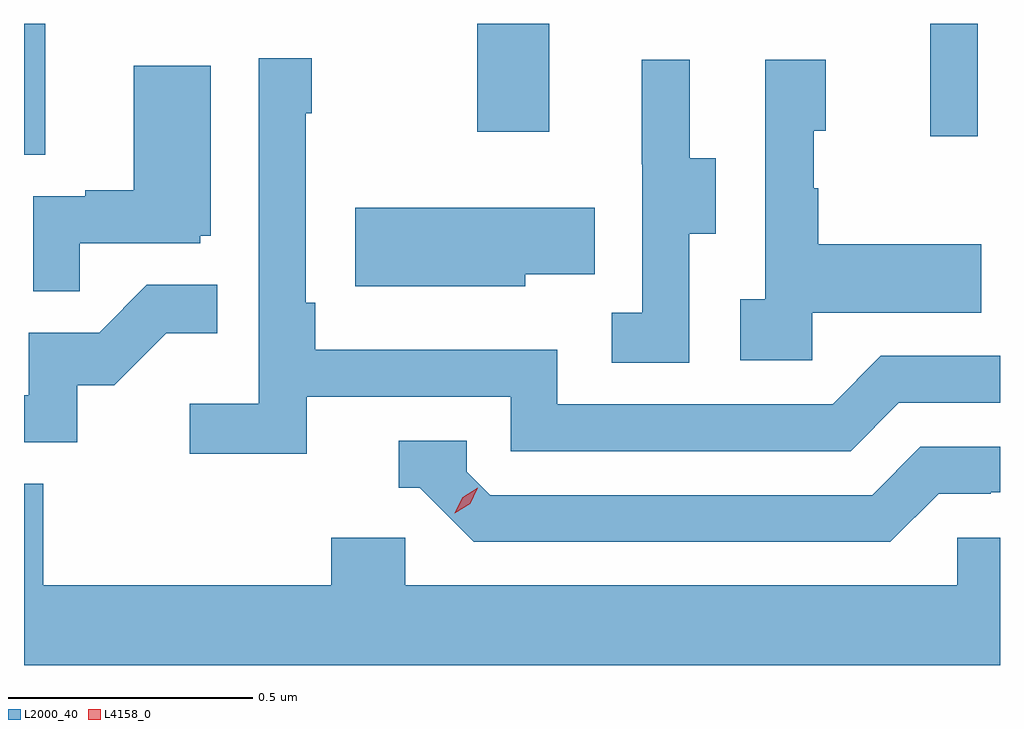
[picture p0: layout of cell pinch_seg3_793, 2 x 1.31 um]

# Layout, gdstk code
import gdstk
lib = gdstk.Library(unit=1e-6, precision=1e-09)
def R(c, l, rs):  # rectangles x0, y0, x1, y1
    for r in rs: c.add(gdstk.rectangle(r[:2], r[2:], *l))
def P(c, l, *ps):  # polygons
    for p in ps: c.add(gdstk.Polygon(p, *l))
L2000_40 = (2000, 40)
L4158_0 = (4158, 0)

pinch_seg3_793 = lib.new_cell('pinch_seg3_793')
R(pinch_seg3_793, L2000_40, [(825.125,720.61,825.169,720.879), (826.982,720.648,827.079,720.879), (826.054,720.657,826.201,720.879)])
P(pinch_seg3_793, L2000_40, [(825.704,720.114),(826.122,720.114),(826.122,720.003),(826.819,720.003),(826.918,720.102),(827.125,720.102),(827.125,720.198),(826.881,720.198),(826.782,720.099),(826.218,720.099),(826.218,720.211),(825.722,720.211),(825.722,720.307),(825.702,720.307),(825.702,720.695),(825.715,720.695),(825.715,720.808),(825.606,720.808),(825.606,720.1),(825.465,720.1),(825.465,719.998),(825.704,719.998)],
  [(826.74,720.287),(827.087,720.287),(827.087,720.427),(826.753,720.427),(826.753,720.542),(826.743,720.542),(826.743,720.66),(826.768,720.66),(826.768,720.805),(826.644,720.805),(826.644,720.314),(826.593,720.314),(826.593,720.189),(826.74,720.189)],
  [(826.488,720.448),(826.543,720.448),(826.543,720.603),(826.489,720.603),(826.489,720.805),(826.391,720.805),(826.391,720.591),(826.392,720.591),(826.392,720.287),(826.329,720.287),(826.329,720.184),(826.488,720.184)],
  [(825.239,720.429),(825.486,720.429),(825.486,720.444),(825.508,720.444),(825.508,720.793),(825.35,720.793),(825.35,720.538),(825.251,720.538),(825.251,720.525),(825.144,720.525),(825.144,720.331),(825.239,720.331)],
  [(826.152,720.365),(826.295,720.365),(826.295,720.502),(825.804,720.502),(825.804,720.341),(826.152,720.341)],
  [(825.234,720.138),(825.31,720.138),(825.417,720.245),(825.521,720.245),(825.521,720.344),(825.377,720.344),(825.279,720.246),(825.135,720.246),(825.135,720.117),(825.125,720.117),(825.125,720.021),(825.234,720.021)],
  [(826.999,719.916),(827.106,719.916),(827.106,719.919),(827.125,719.919),(827.125,720.012),(826.962,720.012),(826.863,719.913),(826.08,719.913),(826.032,719.961),(826.032,720.024),(825.893,720.024),(825.893,719.928),(825.936,719.928),(826.047,719.817),(826.9,719.817)],
  [(827.125,719.826),(827.037,719.826),(827.037,719.728),(825.906,719.728),(825.906,719.826),(825.755,719.826),(825.755,719.728),(825.164,719.728),(825.164,719.936),(825.125,719.936),(825.125,719.564),(827.125,719.564)])
P(pinch_seg3_793, L4158_0, [(826.008,719.876),(826.008,719.877),(826.024,719.909),(826.055,719.928),(826.055,719.928),(826.055,719.928),(826.039,719.895),(826.008,719.876)])

lib.write_gds('pinch_seg3_793.gds')
